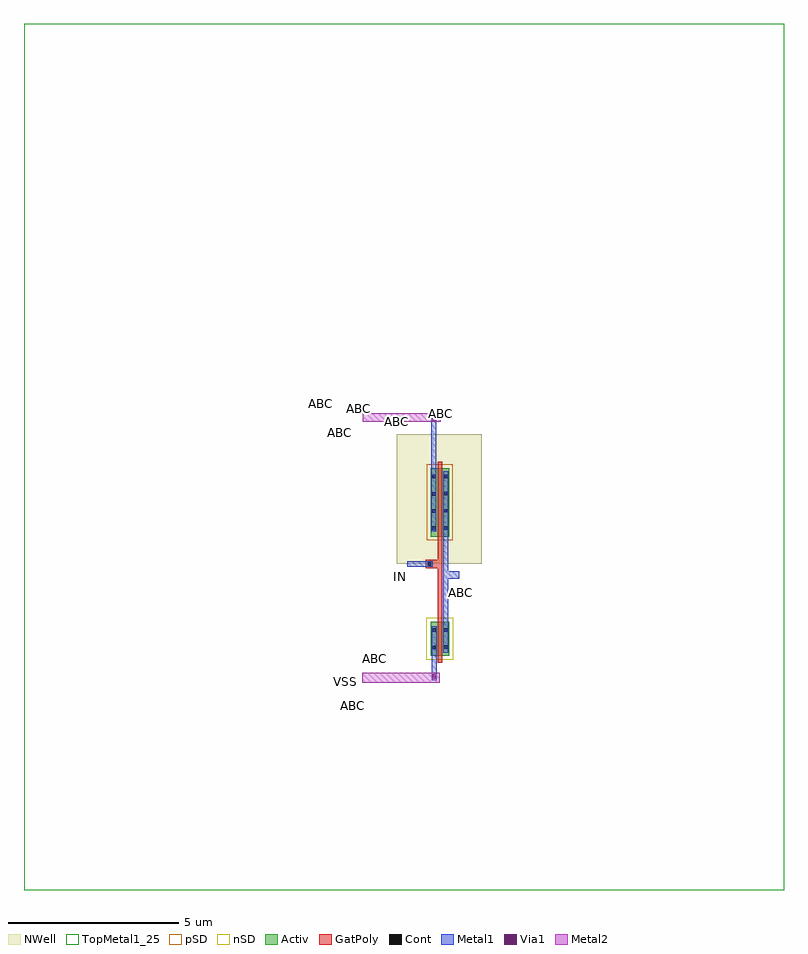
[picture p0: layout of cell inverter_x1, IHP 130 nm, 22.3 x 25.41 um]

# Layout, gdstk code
import gdstk
lib = gdstk.Library(unit=1e-6, precision=1e-09)
def R(c, l, rs):  # rectangles x0, y0, x1, y1
    for r in rs: c.add(gdstk.rectangle(r[:2], r[2:], *l))
def P(c, l, *ps):  # polygons
    for p in ps: c.add(gdstk.Polygon(p, *l))
Activ = (1, 0)
GatPoly = (5, 0)
Cont = (6, 0)
nSD = (7, 0)
Metal1 = (8, 0)
Metal2 = (10, 0)
pSD = (14, 0)
Via1 = (19, 0)
NWell = (31, 0)
TopMetal1_25 = (126, 25)

inverter_x1 = lib.new_cell('inverter_x1')
R(inverter_x1, Activ, [(0,-3.5,0.55,-2.5), (0,0,0.55,2)])
R(inverter_x1, GatPoly, [(0.21,-3.7,0.34,2.2), (-0.145,-0.925,0.21,-0.68)])
R(inverter_x1, Cont, [(0.06,-3.305,0.16,-3.205), (0.4,-3.295,0.5,-3.195), (0.055,-2.795,0.155,-2.695), (0.405,-2.79,0.505,-2.69), (-0.085,-0.855,0.015,-0.755), (0.4,0.195,0.5,0.295), (0.055,0.2,0.155,0.3), (0.055,0.7,0.155,0.8), (0.395,0.705,0.495,0.805), (0.055,1.195,0.155,1.295), (0.4,1.21,0.5,1.31), (0.055,1.705,0.155,1.805), (0.4,1.71,0.5,1.81)])
R(inverter_x1, nSD, [(-0.12,-3.62,0.66,-2.385)])
R(inverter_x1, Metal1, [(0.03,-4.21,0.18,-2.635), (0.38,-3.405,0.525,1.91), (0.38,-1.245,0.845,-1.025), (-0.675,-0.885,0.07,-0.72), (0.029,0.15,0.175,3.55)])
R(inverter_x1, Metal2, [(-2,-4.29,0.27,-3.99), (-1.99,3.36,0.3,3.61)])
R(inverter_x1, pSD, [(-0.11,-0.11,0.655,2.125)])
R(inverter_x1, Via1, [(0.06,-4.17,0.15,-4.04), (0.055,3.4,0.15,3.515)])
R(inverter_x1, NWell, [(-0.995,-0.8,1.505,3)])
R(inverter_x1, TopMetal1_25, [(-11.925,-10.37,10.37,15.035), (-4.665,-10.37,8.295,12.445), (-1.99,3.37,0.3,3.61), (-2.955,3.61,-1.335,4.265), (-3.64,3.62,-2.09,3.93), (-2.43,3.72,-1.535,4)])
P(inverter_x1, TopMetal1_25, [(-1.885,3.83),(-1.885,3.83),(-1.885,3.83),(-1.885,3.83)])
inverter_x1.add(gdstk.Label('ABC', (-2.125,3.745), layer=126, texttype=25))
inverter_x1.add(gdstk.Label('ABC', (-2.055,3.745), layer=126, texttype=25))
inverter_x1.add(gdstk.Label('ABC', (-1.99,3.385), layer=126, texttype=25))
inverter_x1.add(gdstk.Label('ABC', (-1.99,3.36), layer=126, texttype=25))
inverter_x1.add(gdstk.Label('ABC', (-2.3,3.47), layer=126, texttype=25))
inverter_x1.add(gdstk.Label('ABC', (-2.66,3.88), layer=126, texttype=25))
inverter_x1.add(gdstk.Label('ABC', (-2.435,3.925), layer=126, texttype=25))
inverter_x1.add(gdstk.Label('ABC', (-3.23,3.89), layer=126, texttype=25))
inverter_x1.add(gdstk.Label('ABC', (-2.23,3.82), layer=126, texttype=25))
inverter_x1.add(gdstk.Label('ABC', (0.3,3.61), layer=126, texttype=25))
inverter_x1.add(gdstk.Label('ABC', (-0.99,3.36), layer=126, texttype=25))
inverter_x1.add(gdstk.Label('ABC', (-1.95,3.61), layer=126, texttype=25))
inverter_x1.add(gdstk.Label('ABC', (-1.855,3.76), layer=126, texttype=25))
inverter_x1.add(gdstk.Label('ABC', (-2.27,3.895), layer=126, texttype=25))
inverter_x1.add(gdstk.Label('ABC', (-2.635,3.85), layer=126, texttype=25))
inverter_x1.add(gdstk.Label('ABC', (-1.99,3.595), layer=126, texttype=25))
inverter_x1.add(gdstk.Label('ABC', (-2.865,3.54), layer=126, texttype=25))
inverter_x1.add(gdstk.Label('ABC', (-2.655,3.04), layer=126, texttype=25))
inverter_x1.add(gdstk.Label('ABC', (-1.63,-3.585), layer=126, texttype=25))
inverter_x1.add(gdstk.Label('ABC', (-2.295,-4.96), layer=126, texttype=25))
inverter_x1.add(gdstk.Label('ABC', (0.885,-1.63), layer=126, texttype=25))
inverter_x1.add(gdstk.Label('VDD', (-2.49,3.335), layer=10, texttype=25))
inverter_x1.add(gdstk.Label('VSS', (-2.49,-4.265), layer=10, texttype=25))
inverter_x1.add(gdstk.Label('OUT', (0.875,-1.56), layer=8, texttype=25))
inverter_x1.add(gdstk.Label('IN', (-0.875,-1.175), layer=8, texttype=25))

lib.write_gds('inverter_x1.gds')
